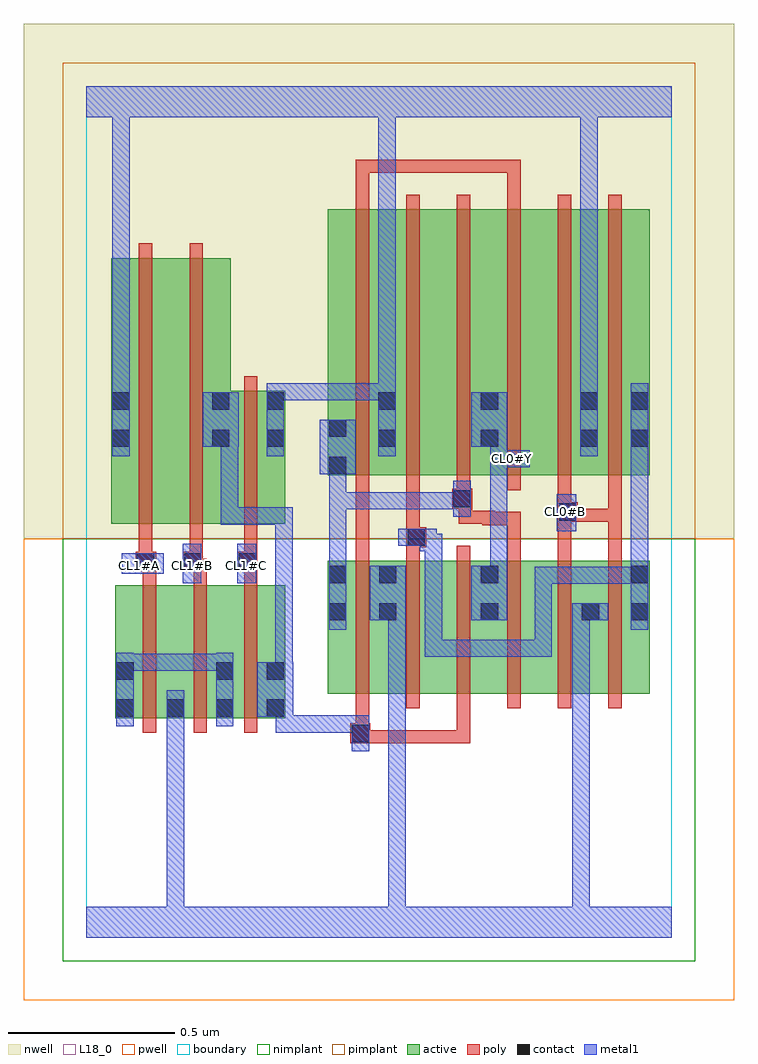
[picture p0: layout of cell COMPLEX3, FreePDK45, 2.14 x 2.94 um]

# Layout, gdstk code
import gdstk
lib = gdstk.Library(unit=1e-6, precision=1e-09)
def R(c, l, rs):  # rectangles x0, y0, x1, y1
    for r in rs: c.add(gdstk.rectangle(r[:2], r[2:], *l))
def A(c, l, x, y, w, h, nx, ny, dx, dy):  # array of equal rectangles
    R(c, l, [(x+i*dx, y+j*dy, x+i*dx+w, y+j*dy+h) for i in range(nx) for j in range(ny)])
active = (1, 0)
pwell = (2, 0)
nwell = (3, 0)
nimplant = (4, 0)
pimplant = (5, 0)
poly = (9, 0)
contact = (10, 0)
metal1 = (11, 0)
L18_0 = (18, 0)
boundary = (235, 0)

complex3 = lib.new_cell('COMPLEX3')
R(complex3, active, [(0.086,0.66,0.146,1.06), (0.086,0.66,0.298,1.06), (0.238,0.66,0.446,1.06), (0.238,0.66,0.298,1.06), (0.386,0.66,0.598,1.06), (0.386,0.66,0.446,0.832), (0.538,0.66,0.598,1.06), (0.726,0.734,0.936,1.134), (0.876,0.734,1.058,1.134), (1.058,0.734,1.242,1.134), (1.182,0.734,1.362,1.134), (1.362,0.734,1.546,1.134), (1.486,0.734,1.694,1.134), (0.726,0.756,0.786,1.134), (0.876,0.756,0.936,1.134), (1.182,0.756,1.242,1.134), (1.486,0.756,1.546,1.134), (1.634,0.756,1.694,1.134), (0.074,1.244,0.254,2.044), (0.074,1.244,0.134,2.044), (0.254,1.244,0.434,2.044), (0.374,1.244,0.598,1.644), (0.374,1.244,0.434,1.7), (0.538,1.244,0.598,1.644), (0.726,1.39,0.786,2.044), (0.726,1.39,0.934,2.19), (0.874,1.39,0.934,2.044), (0.874,1.39,1.058,2.19), (1.058,1.39,1.242,2.19), (1.182,1.39,1.242,2.044), (1.182,1.39,1.362,2.19), (1.362,1.39,1.542,2.19), (1.482,1.39,1.542,2.044), (1.482,1.39,1.694,2.19), (1.634,1.39,1.694,2.044)])
R(complex3, pwell, [(-0.188,-0.188,1.948,1.2)])
R(complex3, nwell, [(-0.188,1.2,1.948,2.748)])
R(complex3, nimplant, [(-0.072,-0.072,1.832,1.2)])
R(complex3, pimplant, [(-0.072,1.2,1.832,2.632)])
A(complex3, poly, 0.17, 0.616, 0.04, 0.488, 3, 1, 0.152, 0)
A(complex3, poly, 0.81, 0.69, 0.04, 0.488, 6, 1, 0.152, 0)
A(complex3, poly, 0.17, 1.064, 0.04, 0.076, 3, 1, 0.152, 0)
A(complex3, poly, 0.81, 1.346, 0.04, 0.888, 6, 1, 0.152, 0)
R(complex3, poly, [(0.794,0.584,0.854,0.644), (0.814,0.584,0.854,0.624), (0.814,0.584,0.854,0.624), (0.814,0.584,1.034,0.624), (0.994,0.584,1.034,0.624), (0.994,0.584,1.124,0.624), (1.084,0.584,1.124,0.624), (1.084,0.584,1.154,0.624), (1.114,0.584,1.154,0.624), (1.114,0.584,1.154,0.73), (0.81,0.604,0.85,0.73), (0.148,1.1,0.21,1.16), (0.29,1.1,0.35,1.16), (0.31,1.1,0.35,1.14), (0.31,1.1,0.362,1.14), (0.454,1.1,0.514,1.16), (0.158,1.12,0.198,1.16), (0.158,1.12,0.198,1.16), (0.158,1.12,0.198,1.24), (0.31,1.12,0.35,1.24), (0.474,1.12,0.514,1.16), (0.474,1.12,0.514,1.16), (0.474,1.12,0.514,1.24), (0.81,1.138,0.85,1.35), (0.962,1.138,1.002,1.214), (1.266,1.138,1.306,1.28), (1.418,1.138,1.458,1.29), (1.57,1.138,1.61,1.29), (0.962,1.174,1.022,1.234), (0.962,1.194,1.002,1.234), (0.962,1.194,1.002,1.234), (0.962,1.194,1.002,1.386), (0.158,1.2,0.198,2.088), (0.31,1.2,0.35,2.088), (0.474,1.2,0.514,1.688), (1.19,1.24,1.306,1.28), (1.19,1.24,1.23,1.284), (1.266,1.24,1.306,1.28), (1.12,1.244,1.16,1.284), (1.12,1.244,1.23,1.284), (1.12,1.244,1.16,1.33), (1.418,1.25,1.478,1.31), (1.438,1.25,1.478,1.29), (1.438,1.25,1.478,1.29), (1.438,1.25,1.61,1.29), (1.57,1.25,1.61,1.386), (1.57,1.25,1.61,1.29), (1.57,1.25,1.61,1.29), (1.57,1.25,1.61,1.29), (1.418,1.27,1.458,1.31), (1.418,1.27,1.458,1.31), (1.418,1.27,1.458,1.386), (1.1,1.29,1.16,1.35), (0.81,1.31,0.85,1.35), (0.81,1.31,0.85,1.35), (0.81,1.31,0.85,1.35), (0.81,1.31,0.85,1.386), (1.114,1.31,1.154,1.386), (0.81,2.194,0.85,2.34), (1.266,2.194,1.306,2.34), (0.81,2.3,0.85,2.34), (0.81,2.3,0.85,2.34), (0.81,2.3,0.85,2.34), (0.81,2.3,1.034,2.34), (0.994,2.3,1.034,2.34), (0.994,2.3,1.034,2.34), (0.994,2.3,1.034,2.34), (0.994,2.3,1.14,2.34), (1.1,2.3,1.14,2.34), (1.1,2.3,1.306,2.34), (1.266,2.3,1.306,2.34), (1.266,2.3,1.306,2.34), (1.266,2.3,1.306,2.34)])
R(complex3, contact, [(0.798,0.588,0.85,0.64), (0.09,0.664,0.142,0.716), (0.242,0.664,0.294,0.716), (0.39,0.664,0.442,0.716), (0.542,0.664,0.594,0.716), (0.09,0.776,0.142,0.828), (0.39,0.776,0.442,0.828), (0.542,0.776,0.594,0.828), (0.73,0.954,0.782,1.006), (0.88,0.954,0.932,1.006), (1.186,0.954,1.238,1.006), (1.49,0.954,1.542,1.006), (1.638,0.954,1.69,1.006), (0.73,1.066,0.782,1.118), (0.88,1.066,0.932,1.118), (1.186,1.066,1.238,1.118), (1.638,1.066,1.69,1.118), (0.152,1.104,0.204,1.156), (0.294,1.104,0.346,1.156), (0.458,1.104,0.51,1.156), (0.966,1.178,1.018,1.23), (1.422,1.254,1.474,1.306), (1.104,1.294,1.156,1.346), (0.73,1.394,0.782,1.446), (0.078,1.476,0.13,1.528), (0.378,1.476,0.43,1.528), (0.542,1.476,0.594,1.528), (0.878,1.476,0.93,1.528), (1.186,1.476,1.238,1.528), (1.486,1.476,1.538,1.528), (1.638,1.476,1.69,1.528), (0.73,1.506,0.782,1.558), (0.078,1.588,0.13,1.64), (0.378,1.588,0.43,1.64), (0.542,1.588,0.594,1.64), (0.878,1.588,0.93,1.64), (1.186,1.588,1.238,1.64), (1.486,1.588,1.538,1.64), (1.638,1.588,1.69,1.64)])
A(complex3, metal1, 1.018, 0.844, 0.162, 0.052, 3, 1, 0.11, 0)
A(complex3, metal1, 1.128, 0.844, 0.052, 0.052, 3, 1, 0.11, 0)
R(complex3, metal1, [(0,0,1.76,0.092), (0.242,0.04,0.294,0.092), (0.242,0.04,0.294,0.092), (0.242,0.04,0.294,0.092), (0.242,0.04,0.294,0.092), (0.242,0.04,0.294,0.092), (0.242,0.04,0.294,0.092), (0.242,0.04,0.294,0.092), (0.242,0.04,0.294,0.092), (0.242,0.04,0.294,0.092), (0.242,0.04,0.294,0.092), (0.242,0.04,0.294,0.092), (0.242,0.04,0.294,0.092), (0.242,0.04,0.294,0.688), (0.908,0.04,0.96,0.092), (0.908,0.04,0.96,0.092), (0.908,0.04,0.96,0.092), (0.908,0.04,0.96,0.092), (0.908,0.04,0.96,0.092), (0.908,0.04,0.96,0.092), (0.908,0.04,0.96,0.092), (0.908,0.04,0.96,0.092), (0.908,0.04,0.96,1.006), (1.462,0.04,1.514,1.006), (0.798,0.56,0.85,0.668), (0.57,0.616,0.622,0.668), (0.57,0.616,0.622,0.668), (0.57,0.616,0.622,0.668), (0.57,0.616,0.622,0.668), (0.57,0.616,0.622,0.668), (0.57,0.616,0.73,0.668), (0.57,0.616,0.622,0.716), (0.678,0.616,0.73,0.668), (0.678,0.616,0.85,0.668), (0.09,0.636,0.142,0.856), (0.242,0.636,0.294,0.744), (0.39,0.636,0.442,0.856), (0.514,0.664,0.622,0.828), (0.57,0.664,0.622,0.716), (0.57,0.664,0.622,0.716), (0.568,0.776,0.62,1.294), (0.09,0.802,0.142,0.854), (0.09,0.802,0.142,0.854), (0.09,0.802,0.292,0.854), (0.24,0.802,0.292,0.854), (0.24,0.802,0.292,0.854), (0.24,0.802,0.292,0.854), (0.24,0.802,0.442,0.854), (1.018,0.844,1.07,0.896), (1.018,0.844,1.07,1.214), (1.128,0.844,1.18,0.896), (1.128,0.844,1.18,0.896), (1.348,0.844,1.4,1.116), (0.73,0.926,0.782,1.146), (1.638,0.926,1.69,1.146), (0.852,0.954,0.96,1.118), (0.908,0.954,0.96,1.006), (0.908,0.954,0.96,1.006), (0.908,0.954,0.96,1.006), (0.908,0.954,0.96,1.006), (1.158,0.954,1.266,1.118), (1.462,0.954,1.514,1.006), (1.462,0.954,1.514,1.006), (1.462,0.954,1.514,1.006), (1.462,0.954,1.514,1.006), (1.462,0.954,1.514,1.006), (1.462,0.954,1.514,1.006), (1.462,0.954,1.514,1.006), (1.462,0.954,1.514,1.006), (1.462,0.954,1.514,1.006), (1.462,0.954,1.514,1.006), (1.462,0.954,1.514,1.006), (1.462,0.954,1.514,1.006), (1.462,0.954,1.57,1.006), (1.348,1.064,1.4,1.116), (1.348,1.064,1.4,1.116), (1.348,1.064,1.4,1.116), (1.348,1.064,1.51,1.116), (1.458,1.064,1.51,1.116), (1.458,1.064,1.69,1.116), (1.638,1.064,1.69,1.116), (1.638,1.064,1.69,1.116), (0.29,1.066,0.346,1.184), (0.454,1.066,0.51,1.184), (1.214,1.066,1.266,1.466), (0.106,1.094,0.232,1.156), (0.73,1.094,0.782,1.146), (0.73,1.094,0.782,1.146), (0.73,1.094,0.782,1.34), (1.638,1.094,1.69,1.146), (1.638,1.094,1.69,1.146), (1.638,1.094,1.69,1.5), (1.002,1.162,1.054,1.23), (1.002,1.162,1.07,1.214), (0.938,1.178,1.046,1.23), (0.994,1.178,1.054,1.23), (1.002,1.178,1.054,1.23), (1.414,1.222,1.474,1.334), (0.404,1.242,0.456,1.294), (0.404,1.242,0.62,1.294), (0.404,1.242,0.456,1.528), (0.568,1.242,0.62,1.294), (0.568,1.242,0.62,1.294), (0.568,1.242,0.62,1.294), (0.568,1.242,0.62,1.294), (0.568,1.242,0.62,1.294), (1.104,1.266,1.156,1.374), (0.73,1.288,0.782,1.34), (0.73,1.288,0.782,1.34), (0.73,1.288,0.782,1.34), (0.73,1.288,0.92,1.34), (0.73,1.288,0.782,1.446), (0.868,1.288,0.92,1.34), (0.868,1.288,1.046,1.34), (0.994,1.288,1.046,1.34), (0.994,1.288,1.046,1.34), (0.994,1.288,1.046,1.34), (0.994,1.288,1.156,1.34), (0.702,1.394,0.81,1.558), (1.214,1.414,1.266,1.466), (1.214,1.414,1.266,1.466), (1.214,1.414,1.266,1.528), (1.214,1.414,1.334,1.466), (0.078,1.448,0.13,1.668), (0.542,1.448,0.594,1.668), (0.878,1.448,0.93,1.668), (1.486,1.448,1.538,1.668), (1.638,1.448,1.69,1.5), (1.638,1.448,1.69,1.5), (1.638,1.448,1.69,1.668), (0.35,1.476,0.458,1.64), (1.158,1.476,1.266,1.64), (0.078,1.616,0.13,1.668), (0.078,1.616,0.13,1.668), (0.078,1.616,0.13,2.52), (0.542,1.616,0.594,1.668), (0.542,1.616,0.594,1.668), (0.542,1.616,0.594,1.668), (0.542,1.616,0.594,1.668), (0.542,1.616,0.594,1.668), (0.542,1.616,0.594,1.668), (0.542,1.616,0.594,1.668), (0.542,1.616,0.594,1.668), (0.542,1.616,0.794,1.668), (0.742,1.616,0.794,1.668), (0.742,1.616,0.794,1.668), (0.742,1.616,0.794,1.668), (0.742,1.616,0.93,1.668), (0.878,1.616,0.93,1.668), (0.878,1.616,0.93,1.668), (0.878,1.616,0.93,2.52), (1.486,1.616,1.538,2.52), (0,2.468,1.76,2.56), (0.078,2.468,0.13,2.52), (0.078,2.468,0.13,2.52), (0.078,2.468,0.13,2.52), (0.078,2.468,0.13,2.52), (0.078,2.468,0.13,2.52), (0.078,2.468,0.13,2.52), (0.878,2.468,0.93,2.52), (0.878,2.468,0.93,2.52), (0.878,2.468,0.93,2.52), (0.878,2.468,0.93,2.52), (0.878,2.468,0.93,2.52), (0.878,2.468,0.93,2.52), (1.486,2.468,1.538,2.52), (1.486,2.468,1.538,2.52), (1.486,2.468,1.538,2.52), (1.486,2.468,1.538,2.52), (1.486,2.468,1.538,2.52), (1.486,2.468,1.538,2.52), (1.486,2.468,1.538,2.52), (1.486,2.468,1.538,2.52)])
A(complex3, L18_0, 0.134, 1.094, 0.052, 0.052, 3, 1, 0.16, 0)
R(complex3, L18_0, [(0,0,1.76,0.092), (0.242,0.04,0.294,0.092), (0.242,0.04,0.294,0.092), (0.242,0.04,0.294,0.092), (0.242,0.04,0.294,0.092), (0.242,0.04,0.294,0.092), (0.242,0.04,0.294,0.092), (0.242,0.04,0.294,0.092), (0.242,0.04,0.294,0.092), (0.242,0.04,0.294,0.092), (0.242,0.04,0.294,0.092), (0.242,0.04,0.294,0.092), (0.242,0.04,0.294,0.092), (0.242,0.04,0.294,0.688), (0.908,0.04,0.96,0.092), (0.908,0.04,0.96,0.092), (0.908,0.04,0.96,0.092), (0.908,0.04,0.96,0.092), (0.908,0.04,0.96,0.092), (0.908,0.04,0.96,0.092), (0.908,0.04,0.96,0.092), (0.908,0.04,0.96,0.092), (0.908,0.04,0.96,1.006), (1.462,0.04,1.514,1.006), (0.242,0.636,0.294,0.744), (0.852,0.954,0.96,1.118), (0.908,0.954,0.96,1.006), (0.908,0.954,0.96,1.006), (0.908,0.954,0.96,1.006), (0.908,0.954,0.96,1.006), (1.158,0.954,1.266,1.118), (1.462,0.954,1.514,1.006), (1.462,0.954,1.514,1.006), (1.462,0.954,1.514,1.006), (1.462,0.954,1.514,1.006), (1.462,0.954,1.514,1.006), (1.462,0.954,1.514,1.006), (1.462,0.954,1.514,1.006), (1.462,0.954,1.514,1.006), (1.462,0.954,1.514,1.006), (1.462,0.954,1.514,1.006), (1.462,0.954,1.514,1.006), (1.462,0.954,1.514,1.006), (1.462,0.954,1.57,1.006), (0.29,1.066,0.346,1.184), (0.454,1.066,0.51,1.184), (1.214,1.066,1.266,1.466), (0.106,1.094,0.232,1.156), (1.414,1.222,1.474,1.334), (1.414,1.254,1.466,1.306), (1.214,1.414,1.266,1.466), (1.214,1.414,1.266,1.466), (1.214,1.414,1.334,1.466), (1.214,1.414,1.266,1.528), (1.254,1.414,1.306,1.466), (0.078,1.448,0.13,1.668), (0.542,1.448,0.594,1.668), (0.878,1.448,0.93,1.668), (1.486,1.448,1.538,1.668), (1.158,1.476,1.266,1.64), (0.078,1.616,0.13,1.668), (0.078,1.616,0.13,1.668), (0.078,1.616,0.13,2.52), (0.542,1.616,0.594,1.668), (0.542,1.616,0.594,1.668), (0.542,1.616,0.594,1.668), (0.542,1.616,0.594,1.668), (0.542,1.616,0.594,1.668), (0.542,1.616,0.594,1.668), (0.542,1.616,0.594,1.668), (0.542,1.616,0.594,1.668), (0.542,1.616,0.794,1.668), (0.742,1.616,0.794,1.668), (0.742,1.616,0.794,1.668), (0.742,1.616,0.794,1.668), (0.742,1.616,0.93,1.668), (0.878,1.616,0.93,1.668), (0.878,1.616,0.93,1.668), (0.878,1.616,0.93,2.52), (1.486,1.616,1.538,2.52), (0,2.468,1.76,2.56), (0.078,2.468,0.13,2.52), (0.078,2.468,0.13,2.52), (0.078,2.468,0.13,2.52), (0.078,2.468,0.13,2.52), (0.078,2.468,0.13,2.52), (0.078,2.468,0.13,2.52), (0.878,2.468,0.93,2.52), (0.878,2.468,0.93,2.52), (0.878,2.468,0.93,2.52), (0.878,2.468,0.93,2.52), (0.878,2.468,0.93,2.52), (0.878,2.468,0.93,2.52), (1.486,2.468,1.538,2.52), (1.486,2.468,1.538,2.52), (1.486,2.468,1.538,2.52), (1.486,2.468,1.538,2.52), (1.486,2.468,1.538,2.52), (1.486,2.468,1.538,2.52), (1.486,2.468,1.538,2.52), (1.486,2.468,1.538,2.52)])
R(complex3, boundary, [(0,0,1.76,2.56)])
complex3.add(gdstk.Label('CL0#B', (1.44,1.28), layer=11, texttype=0))
complex3.add(gdstk.Label('CL0#Y', (1.28,1.44), layer=11, texttype=0))
complex3.add(gdstk.Label('CL1#A', (0.16,1.12), layer=11, texttype=0))
complex3.add(gdstk.Label('CL1#B', (0.32,1.12), layer=11, texttype=0))
complex3.add(gdstk.Label('CL1#C', (0.48,1.12), layer=11, texttype=0))

lib.write_gds('COMPLEX3.gds')
